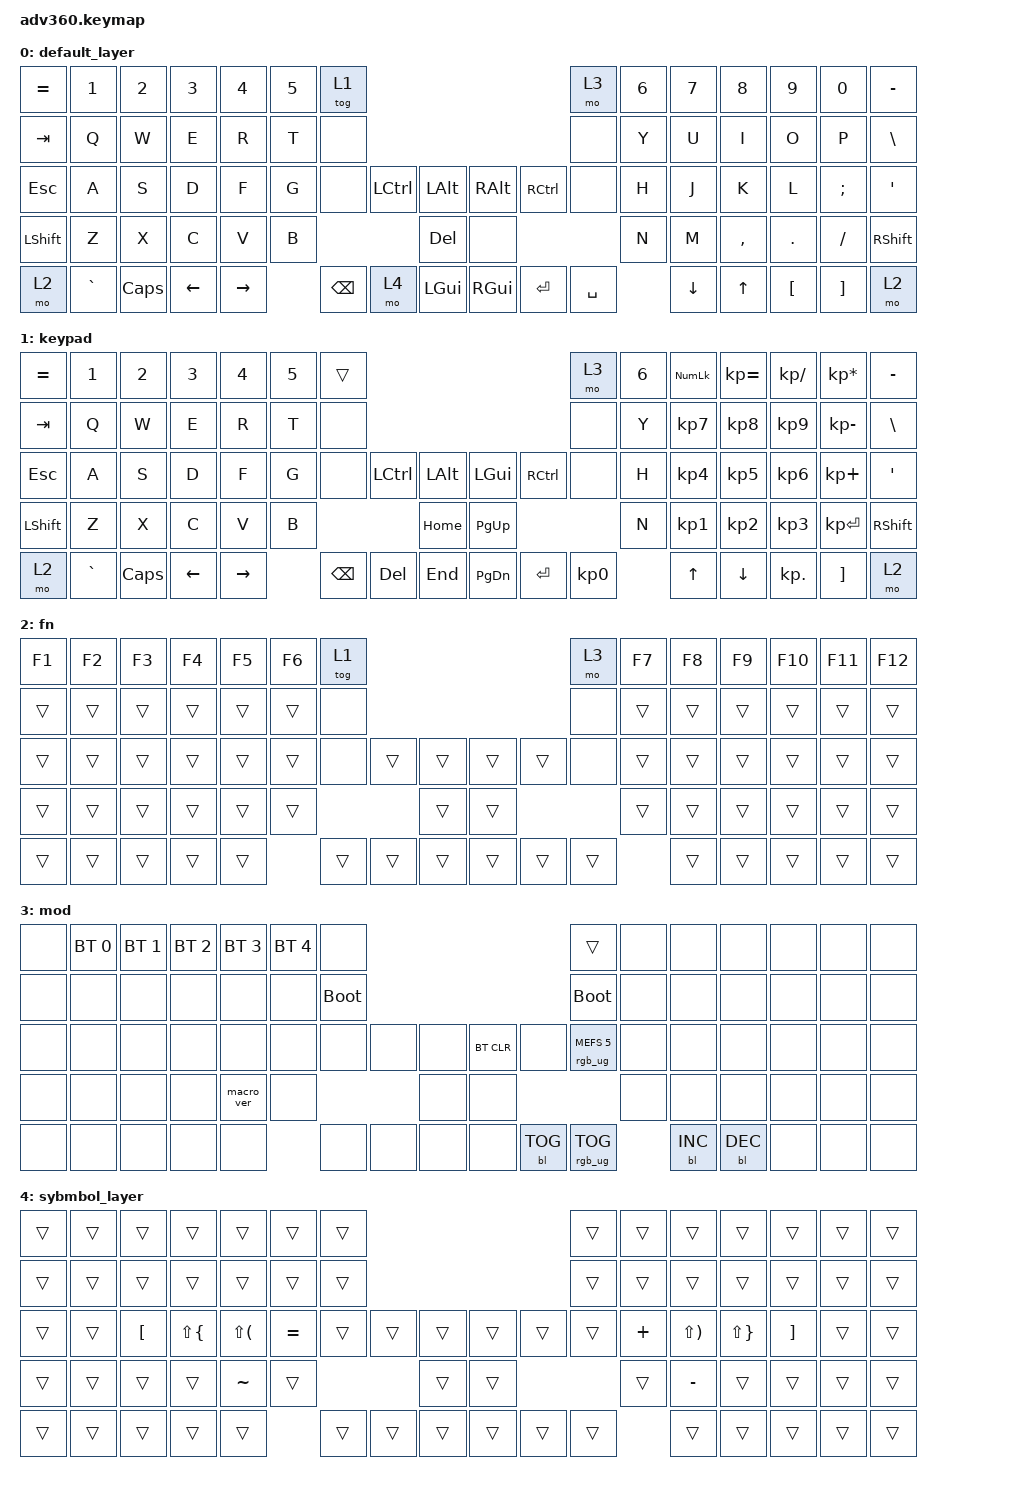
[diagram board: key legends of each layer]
#include <behaviors.dtsi>
#include <dt-bindings/zmk/backlight.h>
#include <dt-bindings/zmk/bt.h>
#include <dt-bindings/zmk/keys.h>
#include <dt-bindings/zmk/rgb.h>

/ {
    behaviors {
        #include "macros.dtsi"
      #include "version.dtsi"
      #ifndef VERSION_MACRO

        macro_ver: macro_ver {
            compatible = "zmk,behavior-macro";
            label = "macro_version";
            #binding-cells = <0>;
            bindings = <&kp RET>;
        };

        #endif

        shift_delete: shift_delete {
            compatible = "zmk,behavior-mod-morph";
            label = "SHIFT_DELETE";
            bindings = <&kp BACKSPACE>, <&kp DELETE>;

            #binding-cells = <0>;
            mods = <(MOD_LSFT|MOD_RSFT)>;
        };
    };

    macros {
    };

    keymap {
        compatible = "zmk,keymap";

        default_layer {
            bindings = <
&kp EQUAL  &kp N1     &kp N2    &kp N3    &kp N4     &kp N5  &tog 1                                                                &mo 3      &kp N6  &kp N7          &kp N8        &kp N9    &kp N0    &kp MINUS
&kp TAB    &kp Q      &kp W     &kp E     &kp R      &kp T   &none                                                                 &none      &kp Y   &kp U           &kp I         &kp O     &kp P     &kp BSLH
&kp ESC    &kp A      &kp S     &kp D     &kp F      &kp G   &none          &kp LCTRL  &kp LALT          &kp RIGHT_ALT  &kp RCTRL  &none      &kp H   &kp J           &kp K         &kp L     &kp SEMI  &kp SQT
&kp LSHFT  &kp Z      &kp X     &kp C     &kp V      &kp B                             &kp DELETE        &none                                &kp N   &kp M           &kp COMMA     &kp DOT   &kp FSLH  &kp RSHFT
&mo 2      &kp GRAVE  &kp CAPS  &kp LEFT  &kp RIGHT          &kp BACKSPACE  &mo 4      &kp LEFT_GUI      &kp RIGHT_GUI  &kp ENTER  &kp SPACE          &kp DOWN_ARROW  &kp UP_ARROW  &kp LBKT  &kp RBKT  &mo 2
            >;
        };

        keypad {
            bindings = <
&kp EQUAL  &kp N1     &kp N2    &kp N3    &kp N4     &kp N5  &trans                                                   &mo 3      &kp N6  &kp KP_NUM  &kp KP_EQUAL  &kp KP_DIVIDE  &kp KP_MULTIPLY  &kp MINUS
&kp TAB    &kp Q      &kp W     &kp E     &kp R      &kp T   &none                                                    &none      &kp Y   &kp KP_N7   &kp KP_N8     &kp KP_N9      &kp KP_MINUS     &kp BSLH
&kp ESC    &kp A      &kp S     &kp D     &kp F      &kp G   &none     &kp LCTRL  &kp LALT      &kp LGUI   &kp RCTRL  &none      &kp H   &kp KP_N4   &kp KP_N5     &kp KP_N6      &kp KP_PLUS      &kp SQT
&kp LSHFT  &kp Z      &kp X     &kp C     &kp V      &kp B                        &kp HOME      &kp PG_UP                        &kp N   &kp KP_N1   &kp KP_N2     &kp KP_N3      &kp KP_ENTER     &kp RSHFT
&mo 2      &kp GRAVE  &kp CAPS  &kp LEFT  &kp RIGHT          &kp BSPC  &kp DEL    &kp END       &kp PG_DN  &kp ENTER  &kp KP_N0          &kp UP      &kp DOWN      &kp KP_DOT     &kp RBKT         &mo 2
            >;
        };

        fn {
            bindings = <
&kp F1  &kp F2  &kp F3  &kp F4  &kp F5  &kp F6  &tog 1                                      &mo 3   &kp F7  &kp F8  &kp F9  &kp F10  &kp F11  &kp F12
&trans  &trans  &trans  &trans  &trans  &trans  &none                                       &none   &trans  &trans  &trans  &trans   &trans   &trans
&trans  &trans  &trans  &trans  &trans  &trans  &none   &trans  &trans      &trans  &trans  &none   &trans  &trans  &trans  &trans   &trans   &trans
&trans  &trans  &trans  &trans  &trans  &trans                  &trans      &trans                  &trans  &trans  &trans  &trans   &trans   &trans
&trans  &trans  &trans  &trans  &trans          &trans  &trans  &trans      &trans  &trans  &trans          &trans  &trans  &trans   &trans   &trans
            >;
        };

        mod {
            bindings = <
&none  &bt BT_SEL 0  &bt BT_SEL 1  &bt BT_SEL 2  &bt BT_SEL 3  &bt BT_SEL 4  &none                                                  &trans                  &none  &none       &none       &none  &none  &none
&none  &none         &none         &none         &none         &none         &bootloader                                            &bootloader             &none  &none       &none       &none  &none  &none
&none  &none         &none         &none         &none         &none         &none        &none  &none      &bt BT_CLR  &none       &rgb_ug RGB_MEFS_CMD 5  &none  &none       &none       &none  &none  &none
&none  &none         &none         &none         &macro_ver    &none                             &none      &none                                           &none  &none       &none       &none  &none  &none
&none  &none         &none         &none         &none                       &none        &none  &none      &none       &bl BL_TOG  &rgb_ug RGB_TOG                &bl BL_INC  &bl BL_DEC  &none  &none  &none
            >;
        };

        sybmbol_layer {
            bindings = <
&trans  &trans  &trans    &trans        &trans        &trans     &trans                                      &trans  &trans    &trans        &trans        &trans    &trans  &trans
&trans  &trans  &trans    &trans        &trans        &trans     &trans                                      &trans  &trans    &trans        &trans        &trans    &trans  &trans
&trans  &trans  &kp LBKT  &kp LS(LBRC)  &kp LS(LPAR)  &kp EQUAL  &trans  &trans  &trans      &trans  &trans  &trans  &kp PLUS  &kp LS(RPAR)  &kp LS(RBRC)  &kp RBKT  &trans  &trans
&trans  &trans  &trans    &trans        &kp TILDE     &trans                     &trans      &trans                  &trans    &kp MINUS     &trans        &trans    &trans  &trans
&trans  &trans  &trans    &trans        &trans                   &trans  &trans  &trans      &trans  &trans  &trans            &trans        &trans        &trans    &trans  &trans
            >;
        };
    };
};
